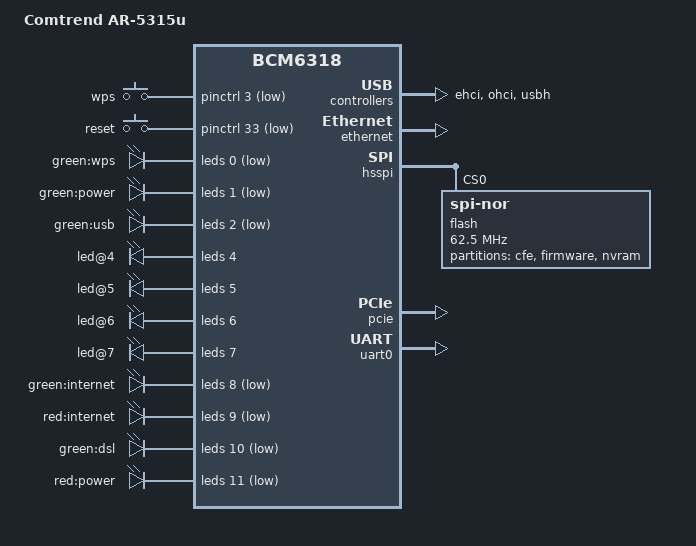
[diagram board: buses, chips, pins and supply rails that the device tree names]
// SPDX-License-Identifier: GPL-2.0-or-later

#include "bcm6318.dtsi"

/ {
	model = "Comtrend AR-5315u";
	compatible = "comtrend,ar-5315u", "brcm,bcm6318";

	aliases {
		led-boot = &led_power_green;
		led-failsafe = &led_power_red;
		led-running = &led_power_green;
		led-upgrade = &led_power_green;

		led-dsl = &led_dsl_green;
		led-internet = &led_internet_green;
		led-usb = &led_usb_green;
	};

	keys {
		compatible = "gpio-keys-polled";
		poll-interval = <20>;

		wps {
			label = "wps";
			gpios = <&pinctrl 3 GPIO_ACTIVE_LOW>;
			linux,code = <KEY_WPS_BUTTON>;
			debounce-interval = <60>;
		};

		reset {
			label = "reset";
			gpios = <&pinctrl 33 GPIO_ACTIVE_LOW>;
			linux,code = <KEY_RESTART>;
			debounce-interval = <60>;
		};
	};

	bcm43217-sprom {
		compatible = "brcm,bcm43217-sprom";

		pci-bus = <1>;
		pci-dev = <0>;

		mtd-mac-address = <&cfe 0x6a0>;
		mtd-mac-address-increment = <1>;

		brcm,sprom-fixups = <6 0x1c00>,
				    <65 0x1255>,
				    <97 0xfe55>,
				    <98 0x171d>,
				    <99 0xfa42>,
				    <113 0xfeb7>,
				    <114 0x18cd>,
				    <115 0xfa4f>,
				    <162 0x6444>,
				    <170 0x6444>,
				    <172 0x6444>;
	};
};

&ehci {
	status = "okay";
};

&ethernet {
	status = "okay";

	mtd-mac-address = <&cfe 0x6a0>;
};

&hsspi {
	status = "okay";

	flash@0 {
		compatible = "jedec,spi-nor";
		spi-max-frequency = <62500000>;
		spi-tx-bus-width = <2>;
		spi-rx-bus-width = <2>;
		reg = <0>;

		#address-cells = <1>;
		#size-cells = <1>;

		partitions {
			compatible = "fixed-partitions";
			#address-cells = <1>;
			#size-cells = <1>;

			cfe: partition@0 {
				reg = <0x000000 0x010000>;
				label = "cfe";
				read-only;
			};

			partition@10000 {
				compatible = "brcm,bcm963xx-imagetag";
				reg = <0x010000 0xfe0000>;
				label = "firmware";
			};

			partition@ff0000 {
				reg = <0xff0000 0x010000>;
				label = "nvram";
			};
		};
	};
};

&leds {
	status = "okay";

	pinctrl-names = "default";
	pinctrl-0 = <&pinctrl_leds
		     &pinctrl_ephy0_act_led &pinctrl_ephy1_act_led
		     &pinctrl_ephy2_act_led &pinctrl_ephy3_act_led>;

	led@0 {
		reg = <0>;
		active-low;
		label = "green:wps";
	};

	led_power_green: led@1 {
		reg = <1>;
		active-low;
		label = "green:power";
	};

	led_usb_green: led@2 {
		reg = <2>;
		active-low;
		label = "green:usb";
	};

	led@4 {
		reg = <4>;
		brcm,hardware-controlled;
		brcm,link-signal-sources = <4>;
		/* EPHY0 Act */
	};

	led@5 {
		reg = <5>;
		brcm,hardware-controlled;
		brcm,link-signal-sources = <5>;
		/* EPHY1 Act */
	};

	led@6 {
		reg = <6>;
		brcm,hardware-controlled;
		brcm,link-signal-sources = <6>;
		/* EPHY2 Act */
	};

	led@7 {
		reg = <7>;
		brcm,hardware-controlled;
		brcm,link-signal-sources = <7>;
		/* EPHY3 Act */
	};

	led_internet_green: led@8 {
		reg = <8>;
		active-low;
		label = "green:internet";
	};

	led@9 {
		reg = <9>;
		active-low;
		label = "red:internet";
	};

	led_dsl_green: led@10 {
		reg = <10>;
		active-low;
		label = "green:dsl";
	};

	led_power_red: led@11 {
		reg = <11>;
		active-low;
		label = "red:power";
	};
};

&ohci {
	status = "okay";
};

&pcie {
	status = "okay";
};

&pinctrl {
	pinctrl_leds: leds {
		function = "led";
		pins = "gpio0", "gpio1",
		       "gpio2", "gpio8",
		       "gpio9", "gpio10",
		       "gpio11";
	};
};

&switch0 {
	ports {
		port@0 {
			reg = <0>;
			label = "lan4";

			phy-handle = <&phy1>;
		};

		port@1 {
			reg = <1>;
			label = "lan3";

			phy-handle = <&phy2>;
		};

		port@2 {
			reg = <2>;
			label = "lan2";

			phy-handle = <&phy3>;
		};

		port@3 {
			reg = <3>;
			label = "lan1";

			phy-handle = <&phy4>;
		};
	};
};

&uart0 {
	status = "okay";
};

&usbh {
	status = "okay";
};
